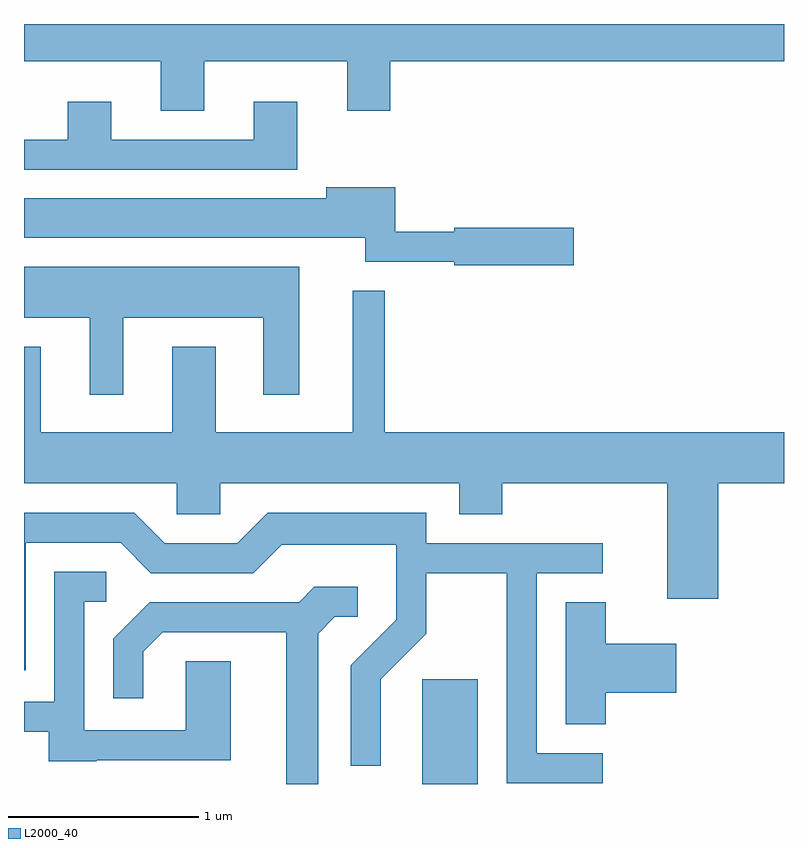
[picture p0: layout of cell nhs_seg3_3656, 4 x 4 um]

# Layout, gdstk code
import gdstk
lib = gdstk.Library(unit=1e-6, precision=1e-09)
def R(c, l, rs):  # rectangles x0, y0, x1, y1
    for r in rs: c.add(gdstk.rectangle(r[:2], r[2:], *l))
def P(c, l, *ps):  # polygons
    for p in ps: c.add(gdstk.Polygon(p, *l))
L2000_40 = (2000, 40)

nhs_seg3_3656 = lib.new_cell('nhs_seg3_3656')
R(nhs_seg3_3656, L2000_40, [(293.706,1219.892,293.999,1220.444)])
P(nhs_seg3_3656, L2000_40, [(292.559,1223.696),(293.311,1223.696),(293.311,1223.436),(293.539,1223.436),(293.539,1223.696),(295.611,1223.696),(295.611,1223.892),(291.611,1223.892),(291.611,1223.696),(292.331,1223.696),(292.331,1223.436),(292.559,1223.436)],
  [(293.049,1223.484),(292.821,1223.484),(292.821,1223.284),(292.069,1223.284),(292.069,1223.484),(291.841,1223.484),(291.841,1223.284),(291.611,1223.284),(291.611,1223.126),(293.049,1223.126)],
  [(294.504,1222.819),(293.876,1222.819),(293.876,1222.799),(293.564,1222.799),(293.564,1223.034),(293.201,1223.034),(293.201,1222.974),(291.611,1222.974),(291.611,1222.766),(293.406,1222.766),(293.406,1222.641),(293.876,1222.641),(293.876,1222.621),(294.504,1222.621)],
  [(292.134,1222.346),(292.871,1222.346),(292.871,1221.941),(293.059,1221.941),(293.059,1222.614),(291.611,1222.614),(291.611,1222.346),(291.956,1222.346),(291.956,1221.941),(292.134,1221.941)],
  [(295.264,1221.476),(295.611,1221.476),(295.611,1221.744),(293.509,1221.744),(293.509,1222.488),(293.341,1222.488),(293.341,1221.744),(292.619,1221.744),(292.619,1222.194),(292.391,1222.194),(292.391,1221.744),(291.699,1221.744),(291.699,1222.194),(291.611,1222.194),(291.611,1221.476),(292.416,1221.476),(292.416,1221.311),(292.644,1221.311),(292.644,1221.476),(293.901,1221.476),(293.901,1221.311),(294.129,1221.311),(294.129,1221.476),(294.996,1221.476),(294.996,1220.866),(295.264,1220.866)],
  [(294.658,1220.054),(294.309,1220.054),(294.309,1221.001),(294.658,1221.001),(294.658,1221.159),(293.729,1221.159),(293.729,1221.319),(292.894,1221.319),(292.734,1221.159),(292.352,1221.159),(292.192,1221.319),(291.611,1221.319),(291.611,1220.491),(291.619,1220.491),(291.619,1221.161),(292.119,1221.161),(292.279,1221.001),(292.817,1221.001),(292.967,1221.151),(293.571,1221.151),(293.571,1220.757),(293.331,1220.517),(293.331,1219.988),(293.489,1219.988),(293.489,1220.444),(293.729,1220.684),(293.729,1221.001),(294.151,1221.001),(294.151,1219.896),(294.658,1219.896)],
  [(291.995,1220.016),(292.699,1220.016),(292.699,1220.539),(292.461,1220.539),(292.461,1220.174),(291.929,1220.174),(291.929,1220.851),(292.043,1220.851),(292.043,1221.009),(291.771,1221.009),(291.771,1220.324),(291.611,1220.324),(291.611,1220.166),(291.741,1220.166),(291.741,1220.011),(291.995,1220.011)],
  [(293.159,1220.684),(293.247,1220.771),(293.368,1220.771),(293.368,1220.929),(293.139,1220.929),(293.059,1220.849),(292.274,1220.849),(292.081,1220.657),(292.081,1220.343),(292.239,1220.343),(292.239,1220.589),(292.342,1220.691),(292.991,1220.691),(292.991,1219.892),(293.159,1219.892)],
  [(294.674,1220.371),(295.044,1220.371),(295.044,1220.629),(294.674,1220.629),(294.674,1220.849),(294.461,1220.849),(294.461,1220.206),(294.674,1220.206)])

lib.write_gds('nhs_seg3_3656.gds')
